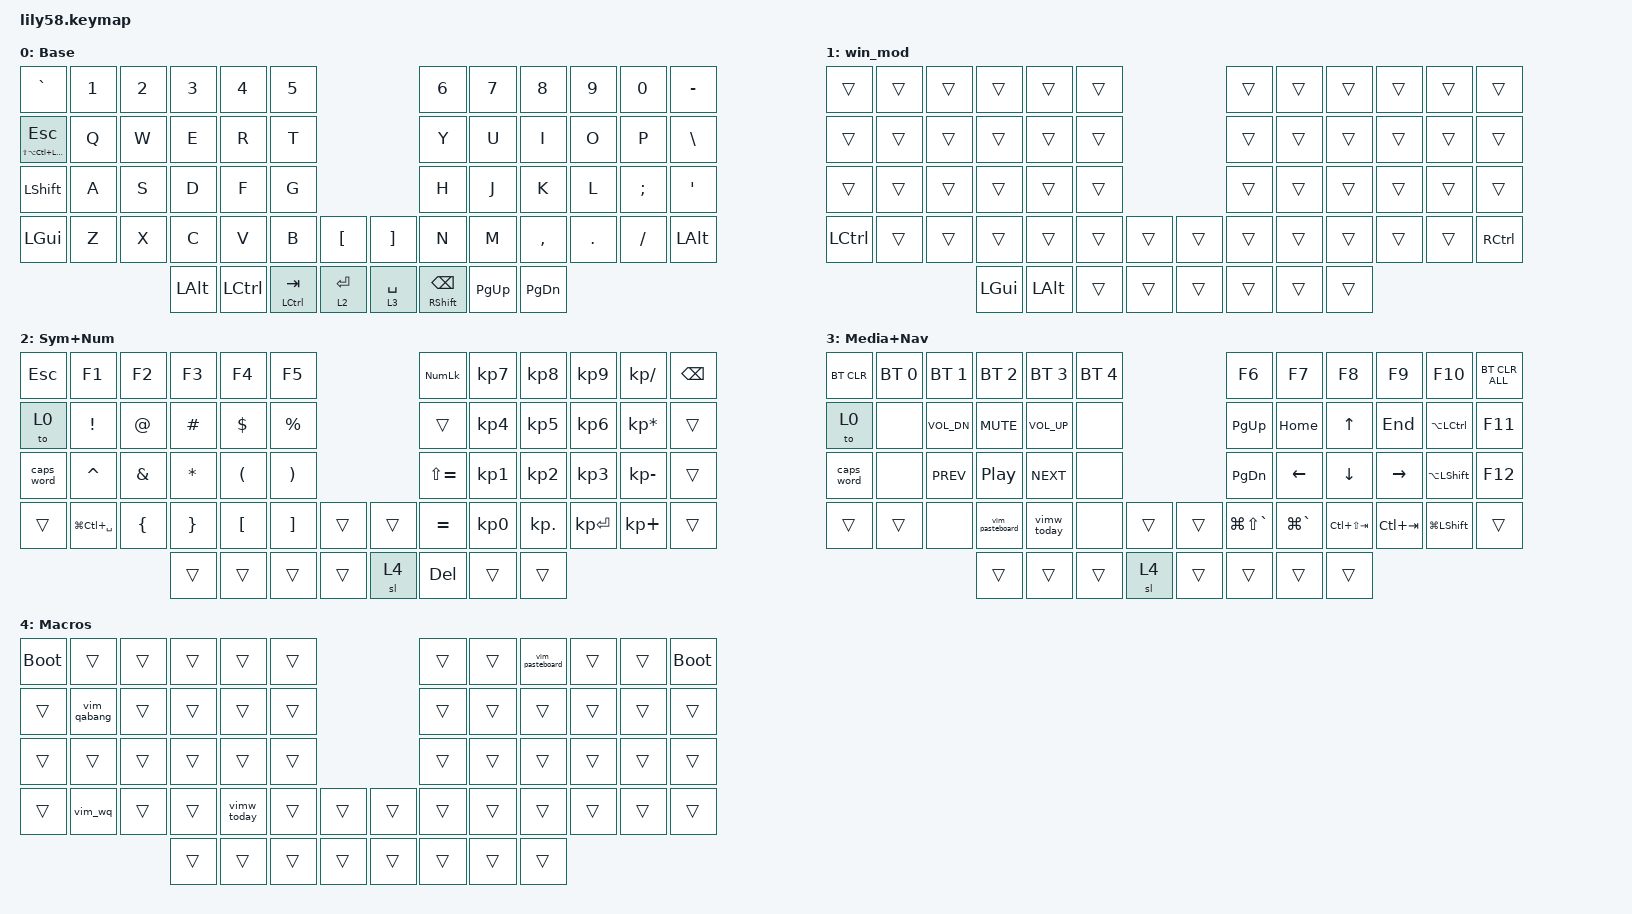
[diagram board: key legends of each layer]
/*
 * Exported from ZMK Studio
 * Date: 2026-01-17T09:59:10.414Z
 * Device: Lily58
 * Version: 1.0.0
 * Layers: 3
 */

#include <behaviors.dtsi>
#include <dt-bindings/zmk/bt.h>
#include <dt-bindings/zmk/keys.h>

/ {
    combos {
        compatible = "zmk,combos";

        jk_esc {
            bindings = <&kp ESCAPE>;
            key-positions = <31 32>;
        };

        win_l {
            bindings = <&kp LG(L)>;
            key-positions = <0 11>;
        };

        goto_win {
            bindings = <&tog 1>;
            key-positions = <42 43>;
        };

        l_bootl {
            bindings = <&bootloader>;
            key-positions = <0 53>;
        };

        r_boot {
            bindings = <&bootloader>;
            key-positions = <54 11>;
        };

        osl_macro {
            bindings = <&sl 4>;
            key-positions = <53 54>;
        };

        goto_layer1 {
            bindings = <&to 2>;
            key-positions = <12 53>;
        };

        goto_layer2 {
            bindings = <&to 3>;
            key-positions = <54 12>;
        };
    };

    macros {
        vimw_today: vimw_today {
            compatible = "zmk,behavior-macro";
            #binding-cells = <0>;
            wait-ms = <30>;
            tap-ms = <30>;
            bindings = <&macro_tap>, <&kp COMMA &kp W &kp COMMA &kp W>;

            label = "VIMW_TODAY";
        };

        vim_pasteboard: vim_pasteboard {
            compatible = "zmk,behavior-macro";
            #binding-cells = <0>;
            bindings = <&macro_tap>, <&kp DQT &kp STAR>;

            label = "VIM_PASTEBOARD";
        };

        vim_qabang: vim_qabang {
            compatible = "zmk,behavior-macro";
            #binding-cells = <0>;
            bindings = <&macro_tap>, <&kp COLON &kp Q &kp A &kp EXCL>;

            label = "VIM_QABANG";
        };

        vim_wq: vim_wq {
            compatible = "zmk,behavior-macro";
            #binding-cells = <0>;
            bindings = <&macro_tap>, <&kp COLON &kp W &kp Q &kp A &kp RET>;

            label = "VIM_WQ";
        };
    };

    keymap {
        compatible = "zmk,keymap";

        base_layer {
            label = "Base";
            bindings = <
&kp GRAVE                 &kp N1  &kp N2  &kp N3    &kp N4     &kp N5                                   &kp N6          &kp N7     &kp N8     &kp N9   &kp N0     &kp MINUS
&mt LS(LA(LC(LGUI))) ESC  &kp Q   &kp W   &kp E     &kp R      &kp T                                    &kp Y           &kp U      &kp I      &kp O    &kp P      &kp BSLH
&kp LSHFT                 &kp A   &kp S   &kp D     &kp F      &kp G                                    &kp H           &kp J      &kp K      &kp L    &kp SEMI   &kp SQT
&kp LGUI                  &kp Z   &kp X   &kp C     &kp V      &kp B          &kp LBKT     &kp RBKT     &kp N           &kp M      &kp COMMA  &kp DOT  &kp SLASH  &kp LALT
                                          &kp LALT  &kp LCTRL  &mt LCTRL TAB  &lt 2 RET    &lt 3 SPACE  &mt RSHFT BSPC  &kp PG_UP  &kp PG_DN
            >;
        };

        win_mod {
            bindings = <
&trans     &trans  &trans  &trans    &trans    &trans                    &trans  &trans  &trans  &trans  &trans  &trans
&trans     &trans  &trans  &trans    &trans    &trans                    &trans  &trans  &trans  &trans  &trans  &trans
&trans     &trans  &trans  &trans    &trans    &trans                    &trans  &trans  &trans  &trans  &trans  &trans
&kp LCTRL  &trans  &trans  &trans    &trans    &trans  &trans    &trans  &trans  &trans  &trans  &trans  &trans  &kp RIGHT_CONTROL
                           &kp LGUI  &kp LALT  &trans  &trans    &trans  &trans  &trans  &trans
            >;

            label = "win_mod";
        };

        symbols_numbers {
            label = "Sym+Num";
            bindings = <
&kp ESC     &kp F1             &kp F2          &kp F3           &kp F4                &kp F5                                   &kp KP_NUMLOCK  &kp KP_N7  &kp KP_N8   &kp KP_NUMBER_9  &kp KP_DIVIDE    &kp BACKSPACE
&to 0       &kp EXCL           &kp AT          &kp HASH         &kp DLLR              &kp PRCNT                                &trans          &kp KP_N4  &kp KP_N5   &kp KP_N6        &kp KP_MULTIPLY  &trans
&caps_word  &kp CARET          &kp AMPS        &kp ASTRK        &kp LEFT_PARENTHESIS  &kp RIGHT_PARENTHESIS                    &kp LS(EQUAL)   &kp KP_N1  &kp KP_N2   &kp KP_N3        &kp KP_MINUS     &trans
&trans      &kp LG(LC(SPACE))  &kp LEFT_BRACE  &kp RIGHT_BRACE  &kp LBKT              &kp RBKT               &trans    &trans  &kp EQUAL       &kp KP_N0  &kp KP_DOT  &kp KP_ENTER     &kp KP_PLUS      &trans
                                               &trans           &trans                &trans                 &trans    &sl 4   &kp DEL         &trans     &trans
            >;
        };

        media_nav_sys {
            label = "Media+Nav";
            bindings = <
&bt BT_CLR  &bt BT_SEL 0  &bt BT_SEL 1  &bt BT_SEL 2     &bt BT_SEL 3  &bt BT_SEL 4                    &kp F6             &kp F7         &kp F8           &kp F9       &kp F10             &bt BT_CLR_ALL
&to 0       &none         &kp C_VOL_DN  &kp C_MUTE       &kp C_VOL_UP  &none                           &kp PG_UP          &kp HOME       &kp UP           &kp END      &kp LA(LCTRL)       &kp F11
&caps_word  &none         &kp C_PREV    &kp C_PP         &kp C_NEXT    &none                           &kp PG_DN          &kp LEFT       &kp DOWN         &kp RIGHT    &kp LA(LEFT_SHIFT)  &kp F12
&trans      &trans        &none         &vim_pasteboard  &vimw_today   &none         &trans    &trans  &kp LG(LS(GRAVE))  &kp LG(GRAVE)  &kp LC(LS(TAB))  &kp LC(TAB)  &kp LG(LEFT_SHIFT)  &trans
                                        &trans           &trans        &trans        &sl 4     &trans  &trans             &trans         &trans
            >;
        };

        macros_layer {
            label = "Macros";
            bindings = <
&bootloader  &trans       &trans  &trans  &trans       &trans                    &trans  &trans  &vim_pasteboard  &trans  &trans  &bootloader
&trans       &vim_qabang  &trans  &trans  &trans       &trans                    &trans  &trans  &trans           &trans  &trans  &trans
&trans       &trans       &trans  &trans  &trans       &trans                    &trans  &trans  &trans           &trans  &trans  &trans
&trans       &vim_wq      &trans  &trans  &vimw_today  &trans  &trans    &trans  &trans  &trans  &trans           &trans  &trans  &trans
                                  &trans  &trans       &trans  &trans    &trans  &trans  &trans  &trans
            >;
        };
    };

    conditional_layers { compatible = "zmk,conditional-layers"; };
};
